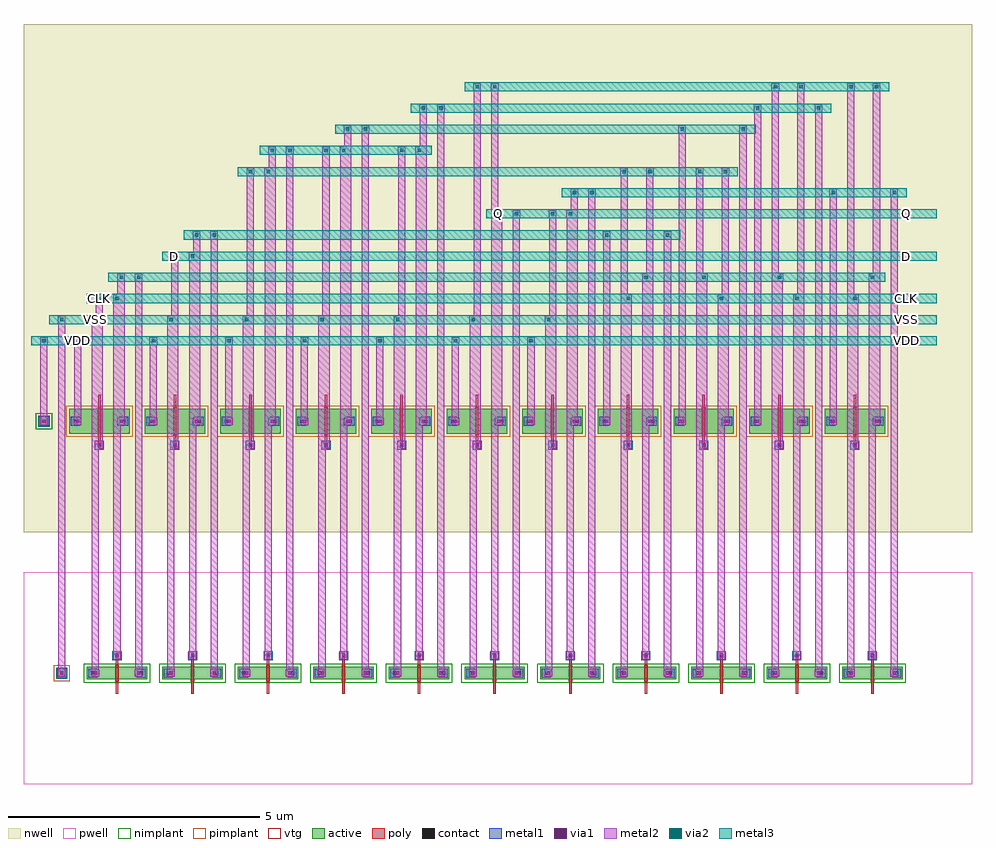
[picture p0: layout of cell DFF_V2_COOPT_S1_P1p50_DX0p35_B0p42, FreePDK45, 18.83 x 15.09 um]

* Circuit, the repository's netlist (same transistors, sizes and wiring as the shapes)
* cell DFF_V2_COOPT_S1_P1p50_DX0p35_B0p42
* pin VDD
* pin CLK,D,Q,VSS
.SUBCKT DFF_V2_COOPT_S1_P1p50_DX0p35_B0p42 1 2
* net 1 VDD
* net 2 CLK,D,Q,VSS
* device instance $1 r0 *1 16.2,7 PMOS_VTG
M$1 2 2 2 1 PMOS_VTG L=0.05U W=2U AS=1.15P AD=1.15P PS=8.6U PD=8.6U
* device instance $5 r0 *1 10.2,7 PMOS_VTG
M$5 2 2 1 1 PMOS_VTG L=0.05U W=3.5U AS=2.0125P AD=2.0125P PS=15.05U PD=15.05U
* device instance $12 r0 *1 16.55,2 NMOS_VTG
M$12 2 2 2 2 NMOS_VTG L=0.05U W=2.75U AS=1.58125P AD=1.58125P PS=18.15U
+ PD=18.15U
.ENDS DFF_V2_COOPT_S1_P1p50_DX0p35_B0p42

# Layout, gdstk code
import gdstk
lib = gdstk.Library(unit=1e-6, precision=5e-10)
def R(c, l, rs):  # rectangles x0, y0, x1, y1
    for r in rs: c.add(gdstk.rectangle(r[:2], r[2:], *l))
def A(c, l, x, y, w, h, nx, ny, dx, dy):  # array of equal rectangles
    R(c, l, [(x+i*dx, y+j*dy, x+i*dx+w, y+j*dy+h) for i in range(nx) for j in range(ny)])
active = (1, 0)
pwell = (2, 0)
nwell = (3, 0)
nimplant = (4, 0)
pimplant = (5, 0)
vtg = (6, 0)
poly = (9, 0)
contact = (10, 0)
metal1 = (11, 0)
via1 = (12, 0)
metal2 = (13, 0)
via2 = (14, 0)
metal3 = (15, 0)

dff_v2_coopt_s1_p1p50_dx = lib.new_cell('DFF_V2_COOPT_S1_P1p50_DX0p35_B0p42')
A(dff_v2_coopt_s1_p1p50_dx, active, 0.95, 1.875, 1.2, 0.25, 11, 1, 1.5, 0)
A(dff_v2_coopt_s1_p1p50_dx, active, 0.6, 6.75, 1.2, 0.5, 11, 1, 1.5, 0)
R(dff_v2_coopt_s1_p1p50_dx, active, [(0.34,1.89,0.56,2.11), (-0.01,6.89,0.21,7.11)])
R(dff_v2_coopt_s1_p1p50_dx, pwell, [(-0.3,-0.2,18.53,4)])
R(dff_v2_coopt_s1_p1p50_dx, nwell, [(-0.3,4.8,18.53,14.89)])
A(dff_v2_coopt_s1_p1p50_dx, nimplant, 0.89, 1.815, 1.32, 0.37, 11, 1, 1.5, 0)
R(dff_v2_coopt_s1_p1p50_dx, nimplant, [(-0.06,6.84,0.26,7.16)])
A(dff_v2_coopt_s1_p1p50_dx, pimplant, 0.54, 6.69, 1.32, 0.62, 11, 1, 1.5, 0)
R(dff_v2_coopt_s1_p1p50_dx, pimplant, [(0.29,1.84,0.61,2.16)])
A(dff_v2_coopt_s1_p1p50_dx, vtg, 1.515, 1.845, 0.07, 0.31, 11, 1, 1.5, 0)
A(dff_v2_coopt_s1_p1p50_dx, vtg, 1.165, 6.72, 0.07, 0.56, 11, 1, 1.5, 0)
A(dff_v2_coopt_s1_p1p50_dx, poly, 1.525, 1.595, 0.05, 0.81, 11, 1, 1.5, 0)
A(dff_v2_coopt_s1_p1p50_dx, poly, 1.175, 6.47, 0.05, 1.06, 11, 1, 1.5, 0)
A(dff_v2_coopt_s1_p1p50_dx, contact, 1.52, 2.315, 0.065, 0.065, 11, 1, 1.5, 0)
A(dff_v2_coopt_s1_p1p50_dx, contact, 1.17, 6.5, 0.065, 0.065, 11, 1, 1.5, 0)
R(dff_v2_coopt_s1_p1p50_dx, contact, [(0.42,1.97,0.485,2.035), (1.04,1.97,1.105,2.035), (2,1.97,2.065,2.035), (2.54,1.97,2.605,2.035), (3.5,1.97,3.565,2.035), (4.04,1.97,4.105,2.035), (5,1.97,5.065,2.035), (5.54,1.97,5.605,2.035), (6.5,1.97,6.565,2.035), (7.04,1.97,7.105,2.035), (8,1.97,8.065,2.035), (8.54,1.97,8.605,2.035), (9.5,1.97,9.565,2.035), (10.04,1.97,10.105,2.035), (11,1.97,11.065,2.035), (11.54,1.97,11.605,2.035), (12.5,1.97,12.565,2.035), (13.04,1.97,13.105,2.035), (14,1.97,14.065,2.035), (14.54,1.97,14.605,2.035), (15.5,1.97,15.565,2.035), (16.04,1.97,16.105,2.035), (17,1.97,17.065,2.035), (0.07,6.97,0.135,7.035), (0.69,6.97,0.755,7.035), (1.65,6.97,1.715,7.035), (2.19,6.97,2.255,7.035), (3.15,6.97,3.215,7.035), (3.69,6.97,3.755,7.035), (4.65,6.97,4.715,7.035), (5.19,6.97,5.255,7.035), (6.15,6.97,6.215,7.035), (6.69,6.97,6.755,7.035), (7.65,6.97,7.715,7.035), (8.19,6.97,8.255,7.035), (9.15,6.97,9.215,7.035), (9.69,6.97,9.755,7.035), (10.65,6.97,10.715,7.035), (11.19,6.97,11.255,7.035), (12.15,6.97,12.215,7.035), (12.69,6.97,12.755,7.035), (13.65,6.97,13.715,7.035), (14.19,6.97,14.255,7.035), (15.15,6.97,15.215,7.035), (15.69,6.97,15.755,7.035), (16.65,6.97,16.715,7.035)])
A(dff_v2_coopt_s1_p1p50_dx, metal1, 1.46, 2.255, 0.18, 0.18, 11, 1, 1.5, 0)
A(dff_v2_coopt_s1_p1p50_dx, metal1, 1.475, 2.27, 0.15, 0.15, 11, 1, 1.5, 0)
A(dff_v2_coopt_s1_p1p50_dx, metal1, 1.11, 6.44, 0.18, 0.18, 11, 1, 1.5, 0)
A(dff_v2_coopt_s1_p1p50_dx, metal1, 1.125, 6.455, 0.15, 0.15, 11, 1, 1.5, 0)
R(dff_v2_coopt_s1_p1p50_dx, metal1, [(0.35,1.9,0.55,2.1), (0.98,1.91,1.16,2.09), (1.94,1.91,2.12,2.09), (2.48,1.91,2.66,2.09), (3.44,1.91,3.62,2.09), (3.98,1.91,4.16,2.09), (4.94,1.91,5.12,2.09), (5.48,1.91,5.66,2.09), (6.44,1.91,6.62,2.09), (6.98,1.91,7.16,2.09), (7.94,1.91,8.12,2.09), (8.48,1.91,8.66,2.09), (9.44,1.91,9.62,2.09), (9.98,1.91,10.16,2.09), (10.94,1.91,11.12,2.09), (11.48,1.91,11.66,2.09), (12.44,1.91,12.62,2.09), (12.98,1.91,13.16,2.09), (13.94,1.91,14.12,2.09), (14.48,1.91,14.66,2.09), (15.44,1.91,15.62,2.09), (15.98,1.91,16.16,2.09), (16.94,1.91,17.12,2.09), (0.375,1.925,0.525,2.075), (0.375,1.925,0.525,2.075), (0.375,1.925,0.525,2.075), (0.375,1.925,0.525,2.075), (0.375,1.925,0.525,2.075), (0.375,1.925,0.525,2.075), (0.375,1.925,0.525,2.075), (0.375,1.925,0.525,2.075), (0.375,1.925,0.525,2.075), (0.375,1.925,0.525,2.075), (0.375,1.925,0.525,2.075), (0.375,1.925,0.525,2.075), (1.045,1.925,1.195,2.075), (1.905,1.925,2.055,2.075), (2.545,1.925,2.695,2.075), (3.405,1.925,3.555,2.075), (4.045,1.925,4.195,2.075), (4.905,1.925,5.055,2.075), (5.545,1.925,5.695,2.075), (6.405,1.925,6.555,2.075), (7.045,1.925,7.195,2.075), (7.905,1.925,8.055,2.075), (8.545,1.925,8.695,2.075), (9.405,1.925,9.555,2.075), (10.045,1.925,10.195,2.075), (10.905,1.925,11.055,2.075), (11.545,1.925,11.695,2.075), (12.405,1.925,12.555,2.075), (13.045,1.925,13.195,2.075), (13.905,1.925,14.055,2.075), (14.545,1.925,14.695,2.075), (15.405,1.925,15.555,2.075), (16.045,1.925,16.195,2.075), (16.905,1.925,17.055,2.075), (0,6.9,0.2,7.1), (0.63,6.91,0.81,7.09), (1.59,6.91,1.77,7.09), (2.13,6.91,2.31,7.09), (3.09,6.91,3.27,7.09), (3.63,6.91,3.81,7.09), (4.59,6.91,4.77,7.09), (5.13,6.91,5.31,7.09), (6.09,6.91,6.27,7.09), (6.63,6.91,6.81,7.09), (7.59,6.91,7.77,7.09), (8.13,6.91,8.31,7.09), (9.09,6.91,9.27,7.09), (9.63,6.91,9.81,7.09), (10.59,6.91,10.77,7.09), (11.13,6.91,11.31,7.09), (12.09,6.91,12.27,7.09), (12.63,6.91,12.81,7.09), (13.59,6.91,13.77,7.09), (14.13,6.91,14.31,7.09), (15.09,6.91,15.27,7.09), (15.63,6.91,15.81,7.09), (16.59,6.91,16.77,7.09), (0.025,6.925,0.175,7.075), (0.025,6.925,0.175,7.075), (0.025,6.925,0.175,7.075), (0.025,6.925,0.175,7.075), (0.025,6.925,0.175,7.075), (0.025,6.925,0.175,7.075), (0.025,6.925,0.175,7.075), (0.025,6.925,0.175,7.075), (0.025,6.925,0.175,7.075), (0.025,6.925,0.175,7.075), (0.025,6.925,0.175,7.075), (0.025,6.925,0.175,7.075), (0.695,6.925,0.845,7.075), (1.555,6.925,1.705,7.075), (2.195,6.925,2.345,7.075), (3.055,6.925,3.205,7.075), (3.695,6.925,3.845,7.075), (4.555,6.925,4.705,7.075), (5.195,6.925,5.345,7.075), (6.055,6.925,6.205,7.075), (6.695,6.925,6.845,7.075), (7.555,6.925,7.705,7.075), (8.195,6.925,8.345,7.075), (9.055,6.925,9.205,7.075), (9.695,6.925,9.845,7.075), (10.555,6.925,10.705,7.075), (11.195,6.925,11.345,7.075), (12.055,6.925,12.205,7.075), (12.695,6.925,12.845,7.075), (13.555,6.925,13.705,7.075), (14.195,6.925,14.345,7.075), (15.055,6.925,15.205,7.075), (15.695,6.925,15.845,7.075), (16.555,6.925,16.705,7.075)])
A(dff_v2_coopt_s1_p1p50_dx, via1, 1.52, 2.315, 0.065, 0.065, 11, 1, 1.5, 0)
A(dff_v2_coopt_s1_p1p50_dx, via1, 1.17, 6.5, 0.065, 0.065, 11, 1, 1.5, 0)
R(dff_v2_coopt_s1_p1p50_dx, via1, [(0.42,1.97,0.485,2.035), (0.42,1.97,0.485,2.035), (0.42,1.97,0.485,2.035), (0.42,1.97,0.485,2.035), (0.42,1.97,0.485,2.035), (0.42,1.97,0.485,2.035), (0.42,1.97,0.485,2.035), (0.42,1.97,0.485,2.035), (0.42,1.97,0.485,2.035), (0.42,1.97,0.485,2.035), (0.42,1.97,0.485,2.035), (0.42,1.97,0.485,2.035), (1.09,1.97,1.155,2.035), (1.95,1.97,2.015,2.035), (2.59,1.97,2.655,2.035), (3.45,1.97,3.515,2.035), (4.09,1.97,4.155,2.035), (4.95,1.97,5.015,2.035), (5.59,1.97,5.655,2.035), (6.45,1.97,6.515,2.035), (7.09,1.97,7.155,2.035), (7.95,1.97,8.015,2.035), (8.59,1.97,8.655,2.035), (9.45,1.97,9.515,2.035), (10.09,1.97,10.155,2.035), (10.95,1.97,11.015,2.035), (11.59,1.97,11.655,2.035), (12.45,1.97,12.515,2.035), (13.09,1.97,13.155,2.035), (13.95,1.97,14.015,2.035), (14.59,1.97,14.655,2.035), (15.45,1.97,15.515,2.035), (16.09,1.97,16.155,2.035), (16.95,1.97,17.015,2.035), (0.07,6.97,0.135,7.035), (0.07,6.97,0.135,7.035), (0.07,6.97,0.135,7.035), (0.07,6.97,0.135,7.035), (0.07,6.97,0.135,7.035), (0.07,6.97,0.135,7.035), (0.07,6.97,0.135,7.035), (0.07,6.97,0.135,7.035), (0.07,6.97,0.135,7.035), (0.07,6.97,0.135,7.035), (0.07,6.97,0.135,7.035), (0.07,6.97,0.135,7.035), (0.74,6.97,0.805,7.035), (1.6,6.97,1.665,7.035), (2.24,6.97,2.305,7.035), (3.1,6.97,3.165,7.035), (3.74,6.97,3.805,7.035), (4.6,6.97,4.665,7.035), (5.24,6.97,5.305,7.035), (6.1,6.97,6.165,7.035), (6.74,6.97,6.805,7.035), (7.6,6.97,7.665,7.035), (8.24,6.97,8.305,7.035), (9.1,6.97,9.165,7.035), (9.74,6.97,9.805,7.035), (10.6,6.97,10.665,7.035), (11.24,6.97,11.305,7.035), (12.1,6.97,12.165,7.035), (12.74,6.97,12.805,7.035), (13.6,6.97,13.665,7.035), (14.24,6.97,14.305,7.035), (15.1,6.97,15.165,7.035), (15.74,6.97,15.805,7.035), (16.6,6.97,16.665,7.035)])
A(dff_v2_coopt_s1_p1p50_dx, metal2, 1.05, 2, 0.14, 7.02, 7, 1, 1.5, 0)
A(dff_v2_coopt_s1_p1p50_dx, metal2, 1.475, 2.27, 0.15, 0.15, 11, 1, 1.5, 0)
A(dff_v2_coopt_s1_p1p50_dx, metal2, 1.125, 6.455, 0.15, 0.15, 11, 1, 1.5, 0)
A(dff_v2_coopt_s1_p1p50_dx, metal2, 0.7, 7, 0.14, 1.6, 7, 1, 1.5, 0)
A(dff_v2_coopt_s1_p1p50_dx, metal2, 0.695, 8.525, 0.15, 0.15, 7, 1, 1.5, 0)
A(dff_v2_coopt_s1_p1p50_dx, metal2, 1.045, 8.945, 0.15, 0.15, 7, 1, 1.5, 0)
R(dff_v2_coopt_s1_p1p50_dx, metal2, [(0.375,1.925,0.525,2.075), (0.375,1.925,0.525,2.075), (0.375,1.925,0.525,2.075), (0.375,1.925,0.525,2.075), (0.375,1.925,0.525,2.075), (0.375,1.925,0.525,2.075), (0.375,1.925,0.525,2.075), (0.375,1.925,0.525,2.075), (0.375,1.925,0.525,2.075), (0.375,1.925,0.525,2.075), (0.375,1.925,0.525,2.075), (0.375,1.925,0.525,2.075), (1.045,1.925,1.195,2.075), (1.905,1.925,2.055,2.075), (2.545,1.925,2.695,2.075), (3.405,1.925,3.555,2.075), (4.045,1.925,4.195,2.075), (4.905,1.925,5.055,2.075), (5.545,1.925,5.695,2.075), (6.405,1.925,6.555,2.075), (7.045,1.925,7.195,2.075), (7.905,1.925,8.055,2.075), (8.545,1.925,8.695,2.075), (9.405,1.925,9.555,2.075), (10.045,1.925,10.195,2.075), (10.905,1.925,11.055,2.075), (11.545,1.925,11.695,2.075), (12.405,1.925,12.555,2.075), (13.045,1.925,13.195,2.075), (13.905,1.925,14.055,2.075), (14.545,1.925,14.695,2.075), (15.405,1.925,15.555,2.075), (16.045,1.925,16.195,2.075), (16.905,1.925,17.055,2.075), (0.38,2,0.52,9.02), (0.38,2,0.52,9.02), (0.38,2,0.52,9.02), (0.38,2,0.52,9.02), (0.38,2,0.52,9.02), (0.38,2,0.52,9.02), (0.38,2,0.52,9.02), (0.38,2,0.52,9.02), (0.38,2,0.52,9.02), (0.38,2,0.52,9.02), (0.38,2,0.52,9.02), (0.38,2,0.52,9.02), (1.91,2,2.05,9.86), (3.41,2,3.55,10.7), (4.91,2,5.05,12.38), (6.41,2,6.55,12.8), (7.91,2,8.05,13.22), (9.41,2,9.55,11.12), (10.91,2,11.05,11.54), (11.55,2,11.69,11.96), (12.41,2,12.55,10.7), (13.05,2,13.19,11.96), (13.91,2,14.05,12.8), (14.55,2,14.69,13.64), (15.41,2,15.55,13.22), (16.05,2,16.19,13.64), (16.91,2,17.05,11.54), (1.48,2.345,1.62,9.44), (2.98,2.345,3.12,10.28), (4.48,2.345,4.62,11.96), (5.98,2.345,6.12,12.38), (7.48,2.345,7.62,12.38), (8.98,2.345,9.12,13.64), (10.48,2.345,10.62,11.12), (11.98,2.345,12.12,9.86), (13.48,2.345,13.62,9.44), (14.98,2.345,15.12,9.44), (16.48,2.345,16.62,9.86), (1.13,6.53,1.27,9.44), (2.63,6.53,2.77,10.28), (4.13,6.53,4.27,11.96), (5.63,6.53,5.77,12.38), (7.13,6.53,7.27,12.38), (8.63,6.53,8.77,13.64), (10.13,6.53,10.27,11.12), (11.63,6.53,11.77,9.44), (13.13,6.53,13.27,9.86), (14.63,6.53,14.77,9.86), (16.13,6.53,16.27,9.44), (0.025,6.925,0.175,7.075), (0.025,6.925,0.175,7.075), (0.025,6.925,0.175,7.075), (0.025,6.925,0.175,7.075), (0.025,6.925,0.175,7.075), (0.025,6.925,0.175,7.075), (0.025,6.925,0.175,7.075), (0.025,6.925,0.175,7.075), (0.025,6.925,0.175,7.075), (0.025,6.925,0.175,7.075), (0.025,6.925,0.175,7.075), (0.025,6.925,0.175,7.075), (0.695,6.925,0.845,7.075), (1.555,6.925,1.705,7.075), (2.195,6.925,2.345,7.075), (3.055,6.925,3.205,7.075), (3.695,6.925,3.845,7.075), (4.555,6.925,4.705,7.075), (5.195,6.925,5.345,7.075), (6.055,6.925,6.205,7.075), (6.695,6.925,6.845,7.075), (7.555,6.925,7.705,7.075), (8.195,6.925,8.345,7.075), (9.055,6.925,9.205,7.075), (9.695,6.925,9.845,7.075), (10.555,6.925,10.705,7.075), (11.195,6.925,11.345,7.075), (12.055,6.925,12.205,7.075), (12.695,6.925,12.845,7.075), (13.555,6.925,13.705,7.075), (14.195,6.925,14.345,7.075), (15.055,6.925,15.205,7.075), (15.695,6.925,15.845,7.075), (16.555,6.925,16.705,7.075), (0.03,7,0.17,8.6), (0.03,7,0.17,8.6), (0.03,7,0.17,8.6), (0.03,7,0.17,8.6), (0.03,7,0.17,8.6), (0.03,7,0.17,8.6), (0.03,7,0.17,8.6), (0.03,7,0.17,8.6), (0.03,7,0.17,8.6), (0.03,7,0.17,8.6), (0.03,7,0.17,8.6), (0.03,7,0.17,8.6), (1.56,7,1.7,9.86), (3.06,7,3.2,10.7), (4.56,7,4.7,12.38), (6.06,7,6.2,12.8), (7.56,7,7.7,13.22), (9.06,7,9.2,11.12), (10.56,7,10.7,11.54), (11.2,7,11.34,10.7), (12.06,7,12.2,11.96), (12.7,7,12.84,12.8), (13.56,7,13.7,11.96), (14.2,7,14.34,13.22), (15.06,7,15.2,13.64), (15.7,7,15.84,11.54), (16.56,7,16.7,13.64), (0.025,8.525,0.175,8.675), (0.025,8.525,0.175,8.675), (0.025,8.525,0.175,8.675), (0.025,8.525,0.175,8.675), (0.025,8.525,0.175,8.675), (0.025,8.525,0.175,8.675), (0.025,8.525,0.175,8.675), (0.025,8.525,0.175,8.675), (0.025,8.525,0.175,8.675), (0.025,8.525,0.175,8.675), (0.025,8.525,0.175,8.675), (0.025,8.525,0.175,8.675), (0.375,8.945,0.525,9.095), (0.375,8.945,0.525,9.095), (0.375,8.945,0.525,9.095), (0.375,8.945,0.525,9.095), (0.375,8.945,0.525,9.095), (0.375,8.945,0.525,9.095), (0.375,8.945,0.525,9.095), (0.375,8.945,0.525,9.095), (0.375,8.945,0.525,9.095), (0.375,8.945,0.525,9.095), (0.375,8.945,0.525,9.095), (0.375,8.945,0.525,9.095), (1.125,9.365,1.275,9.515), (1.475,9.365,1.625,9.515), (11.625,9.365,11.775,9.515), (13.475,9.365,13.625,9.515), (14.975,9.365,15.125,9.515), (16.125,9.365,16.275,9.515), (1.555,9.785,1.705,9.935), (1.905,9.785,2.055,9.935), (11.975,9.785,12.125,9.935), (13.125,9.785,13.275,9.935), (14.625,9.785,14.775,9.935), (16.475,9.785,16.625,9.935), (2.625,10.205,2.775,10.355), (2.975,10.205,3.125,10.355), (3.055,10.625,3.205,10.775), (3.405,10.625,3.555,10.775), (11.195,10.625,11.345,10.775), (12.405,10.625,12.555,10.775), (9.055,11.045,9.205,11.195), (9.405,11.045,9.555,11.195), (10.125,11.045,10.275,11.195), (10.475,11.045,10.625,11.195), (10.555,11.465,10.705,11.615), (10.905,11.465,11.055,11.615), (15.695,11.465,15.845,11.615), (16.905,11.465,17.055,11.615), (4.125,11.885,4.275,12.035), (4.475,11.885,4.625,12.035), (11.545,11.885,11.695,12.035), (12.055,11.885,12.205,12.035), (13.045,11.885,13.195,12.035), (13.555,11.885,13.705,12.035), (4.555,12.305,4.705,12.455), (4.905,12.305,5.055,12.455), (5.625,12.305,5.775,12.455), (5.975,12.305,6.125,12.455), (7.125,12.305,7.275,12.455), (7.475,12.305,7.625,12.455), (6.055,12.725,6.205,12.875), (6.405,12.725,6.555,12.875), (12.695,12.725,12.845,12.875), (13.905,12.725,14.055,12.875), (7.555,13.145,7.705,13.295), (7.905,13.145,8.055,13.295), (14.195,13.145,14.345,13.295), (15.405,13.145,15.555,13.295), (8.625,13.565,8.775,13.715), (8.975,13.565,9.125,13.715), (14.545,13.565,14.695,13.715), (15.055,13.565,15.205,13.715), (16.045,13.565,16.195,13.715), (16.555,13.565,16.705,13.715)])
A(dff_v2_coopt_s1_p1p50_dx, via2, 0.74, 8.57, 0.065, 0.065, 7, 1, 1.5, 0)
A(dff_v2_coopt_s1_p1p50_dx, via2, 1.09, 8.99, 0.065, 0.065, 7, 1, 1.5, 0)
R(dff_v2_coopt_s1_p1p50_dx, via2, [(0.07,8.57,0.135,8.635), (0.07,8.57,0.135,8.635), (0.07,8.57,0.135,8.635), (0.07,8.57,0.135,8.635), (0.07,8.57,0.135,8.635), (0.07,8.57,0.135,8.635), (0.07,8.57,0.135,8.635), (0.07,8.57,0.135,8.635), (0.07,8.57,0.135,8.635), (0.07,8.57,0.135,8.635), (0.07,8.57,0.135,8.635), (0.07,8.57,0.135,8.635), (0.42,8.99,0.485,9.055), (0.42,8.99,0.485,9.055), (0.42,8.99,0.485,9.055), (0.42,8.99,0.485,9.055), (0.42,8.99,0.485,9.055), (0.42,8.99,0.485,9.055), (0.42,8.99,0.485,9.055), (0.42,8.99,0.485,9.055), (0.42,8.99,0.485,9.055), (0.42,8.99,0.485,9.055), (0.42,8.99,0.485,9.055), (0.42,8.99,0.485,9.055), (1.17,9.41,1.235,9.475), (1.52,9.41,1.585,9.475), (11.67,9.41,11.735,9.475), (13.52,9.41,13.585,9.475), (15.02,9.41,15.085,9.475), (16.17,9.41,16.235,9.475), (1.6,9.83,1.665,9.895), (1.95,9.83,2.015,9.895), (12.02,9.83,12.085,9.895), (13.17,9.83,13.235,9.895), (14.67,9.83,14.735,9.895), (16.52,9.83,16.585,9.895), (2.67,10.25,2.735,10.315), (3.02,10.25,3.085,10.315), (3.1,10.67,3.165,10.735), (3.45,10.67,3.515,10.735), (11.24,10.67,11.305,10.735), (12.45,10.67,12.515,10.735), (9.1,11.09,9.165,11.155), (9.45,11.09,9.515,11.155), (10.17,11.09,10.235,11.155), (10.52,11.09,10.585,11.155), (10.6,11.51,10.665,11.575), (10.95,11.51,11.015,11.575), (15.74,11.51,15.805,11.575), (16.95,11.51,17.015,11.575), (4.17,11.93,4.235,11.995), (4.52,11.93,4.585,11.995), (11.59,11.93,11.655,11.995), (12.1,11.93,12.165,11.995), (13.09,11.93,13.155,11.995), (13.6,11.93,13.665,11.995), (4.6,12.35,4.665,12.415), (4.95,12.35,5.015,12.415), (5.67,12.35,5.735,12.415), (6.02,12.35,6.085,12.415), (7.17,12.35,7.235,12.415), (7.52,12.35,7.585,12.415), (6.1,12.77,6.165,12.835), (6.45,12.77,6.515,12.835), (12.74,12.77,12.805,12.835), (13.95,12.77,14.015,12.835), (7.6,13.19,7.665,13.255), (7.95,13.19,8.015,13.255), (14.24,13.19,14.305,13.255), (15.45,13.19,15.515,13.255), (8.67,13.61,8.735,13.675), (9.02,13.61,9.085,13.675), (14.59,13.61,14.655,13.675), (15.1,13.61,15.165,13.675), (16.09,13.61,16.155,13.675), (16.6,13.61,16.665,13.675)])
A(dff_v2_coopt_s1_p1p50_dx, metal3, 0.695, 8.525, 0.15, 0.15, 7, 1, 1.5, 0)
A(dff_v2_coopt_s1_p1p50_dx, metal3, 1.045, 8.945, 0.15, 0.15, 7, 1, 1.5, 0)
R(dff_v2_coopt_s1_p1p50_dx, metal3, [(-0.15,8.51,10.02,8.69), (10.02,8.51,17.83,8.69), (0.025,8.525,0.175,8.675), (0.025,8.525,0.175,8.675), (0.025,8.525,0.175,8.675), (0.025,8.525,0.175,8.675), (0.025,8.525,0.175,8.675), (0.025,8.525,0.175,8.675), (0.025,8.525,0.175,8.675), (0.025,8.525,0.175,8.675), (0.025,8.525,0.175,8.675), (0.025,8.525,0.175,8.675), (0.025,8.525,0.175,8.675), (0.025,8.525,0.175,8.675), (0.2,8.93,10.37,9.11), (10.37,8.93,17.83,9.11), (0.375,8.945,0.525,9.095), (0.375,8.945,0.525,9.095), (0.375,8.945,0.525,9.095), (0.375,8.945,0.525,9.095), (0.375,8.945,0.525,9.095), (0.375,8.945,0.525,9.095), (0.375,8.945,0.525,9.095), (0.375,8.945,0.525,9.095), (0.375,8.945,0.525,9.095), (0.375,8.945,0.525,9.095), (0.375,8.945,0.525,9.095), (0.375,8.945,0.525,9.095), (0.95,9.35,16.45,9.53), (16.45,9.35,17.83,9.53), (1.125,9.365,1.275,9.515), (1.475,9.365,1.625,9.515), (11.625,9.365,11.775,9.515), (13.475,9.365,13.625,9.515), (14.975,9.365,15.125,9.515), (16.125,9.365,16.275,9.515), (1.38,9.77,16.8,9.95), (1.555,9.785,1.705,9.935), (1.905,9.785,2.055,9.935), (11.975,9.785,12.125,9.935), (13.125,9.785,13.275,9.935), (14.625,9.785,14.775,9.935), (16.475,9.785,16.625,9.935), (2.45,10.19,3.3,10.37), (3.3,10.19,17.83,10.37), (2.625,10.205,2.775,10.355), (2.975,10.205,3.125,10.355), (2.88,10.61,12.73,10.79), (3.055,10.625,3.205,10.775), (3.405,10.625,3.555,10.775), (11.195,10.625,11.345,10.775), (12.405,10.625,12.555,10.775), (8.88,11.03,10.8,11.21), (10.8,11.03,17.83,11.21), (9.055,11.045,9.205,11.195), (9.405,11.045,9.555,11.195), (10.125,11.045,10.275,11.195), (10.475,11.045,10.625,11.195), (10.38,11.45,17.23,11.63), (10.555,11.465,10.705,11.615), (10.905,11.465,11.055,11.615), (15.695,11.465,15.845,11.615), (16.905,11.465,17.055,11.615), (3.95,11.87,13.88,12.05), (4.125,11.885,4.275,12.035), (4.475,11.885,4.625,12.035), (11.545,11.885,11.695,12.035), (12.055,11.885,12.205,12.035), (13.045,11.885,13.195,12.035), (13.555,11.885,13.705,12.035), (4.38,12.29,7.8,12.47), (4.555,12.305,4.705,12.455), (4.905,12.305,5.055,12.455), (5.625,12.305,5.775,12.455), (5.975,12.305,6.125,12.455), (7.125,12.305,7.275,12.455), (7.475,12.305,7.625,12.455), (5.88,12.71,14.23,12.89), (6.055,12.725,6.205,12.875), (6.405,12.725,6.555,12.875), (12.695,12.725,12.845,12.875), (13.905,12.725,14.055,12.875), (7.38,13.13,15.73,13.31), (7.555,13.145,7.705,13.295), (7.905,13.145,8.055,13.295), (14.195,13.145,14.345,13.295), (15.405,13.145,15.555,13.295), (8.45,13.55,16.88,13.73), (8.625,13.565,8.775,13.715), (8.975,13.565,9.125,13.715), (14.545,13.565,14.695,13.715), (15.055,13.565,15.205,13.715), (16.045,13.565,16.195,13.715), (16.555,13.565,16.705,13.715)])
dff_v2_coopt_s1_p1p50_dx.add(gdstk.Label('VDD', (17.23,8.6), layer=15, texttype=0))
dff_v2_coopt_s1_p1p50_dx.add(gdstk.Label('VDD', (17.23,8.6), layer=15, texttype=1))
dff_v2_coopt_s1_p1p50_dx.add(gdstk.Label('VDD', (17.23,8.6), layer=15, texttype=2))
dff_v2_coopt_s1_p1p50_dx.add(gdstk.Label('VDD', (0.77,8.6), layer=13, texttype=0))
dff_v2_coopt_s1_p1p50_dx.add(gdstk.Label('VDD', (0.77,8.6), layer=13, texttype=1))
dff_v2_coopt_s1_p1p50_dx.add(gdstk.Label('VDD', (0.77,8.6), layer=13, texttype=2))
dff_v2_coopt_s1_p1p50_dx.add(gdstk.Label('VSS', (17.23,9.02), layer=15, texttype=0))
dff_v2_coopt_s1_p1p50_dx.add(gdstk.Label('VSS', (17.23,9.02), layer=15, texttype=1))
dff_v2_coopt_s1_p1p50_dx.add(gdstk.Label('VSS', (17.23,9.02), layer=15, texttype=2))
dff_v2_coopt_s1_p1p50_dx.add(gdstk.Label('VSS', (1.12,9.02), layer=13, texttype=0))
dff_v2_coopt_s1_p1p50_dx.add(gdstk.Label('VSS', (1.12,9.02), layer=13, texttype=1))
dff_v2_coopt_s1_p1p50_dx.add(gdstk.Label('VSS', (1.12,9.02), layer=13, texttype=2))
dff_v2_coopt_s1_p1p50_dx.add(gdstk.Label('D', (17.23,10.28), layer=15, texttype=0))
dff_v2_coopt_s1_p1p50_dx.add(gdstk.Label('D', (17.23,10.28), layer=15, texttype=1))
dff_v2_coopt_s1_p1p50_dx.add(gdstk.Label('D', (17.23,10.28), layer=15, texttype=2))
dff_v2_coopt_s1_p1p50_dx.add(gdstk.Label('D', (2.7,10.28), layer=13, texttype=0))
dff_v2_coopt_s1_p1p50_dx.add(gdstk.Label('D', (2.7,10.28), layer=13, texttype=1))
dff_v2_coopt_s1_p1p50_dx.add(gdstk.Label('D', (2.7,10.28), layer=13, texttype=2))
dff_v2_coopt_s1_p1p50_dx.add(gdstk.Label('Q', (17.23,11.12), layer=15, texttype=0))
dff_v2_coopt_s1_p1p50_dx.add(gdstk.Label('Q', (17.23,11.12), layer=15, texttype=1))
dff_v2_coopt_s1_p1p50_dx.add(gdstk.Label('Q', (17.23,11.12), layer=15, texttype=2))
dff_v2_coopt_s1_p1p50_dx.add(gdstk.Label('Q', (9.13,11.12), layer=13, texttype=0))
dff_v2_coopt_s1_p1p50_dx.add(gdstk.Label('Q', (9.13,11.12), layer=13, texttype=1))
dff_v2_coopt_s1_p1p50_dx.add(gdstk.Label('Q', (9.13,11.12), layer=13, texttype=2))
dff_v2_coopt_s1_p1p50_dx.add(gdstk.Label('CLK', (17.23,9.44), layer=15, texttype=0))
dff_v2_coopt_s1_p1p50_dx.add(gdstk.Label('CLK', (17.23,9.44), layer=15, texttype=1))
dff_v2_coopt_s1_p1p50_dx.add(gdstk.Label('CLK', (17.23,9.44), layer=15, texttype=2))
dff_v2_coopt_s1_p1p50_dx.add(gdstk.Label('CLK', (1.2,9.44), layer=13, texttype=0))
dff_v2_coopt_s1_p1p50_dx.add(gdstk.Label('CLK', (1.2,9.44), layer=13, texttype=1))
dff_v2_coopt_s1_p1p50_dx.add(gdstk.Label('CLK', (1.2,9.44), layer=13, texttype=2))

lib.write_gds('DFF_V2_COOPT_S1_P1p50_DX0p35_B0p42.gds')
